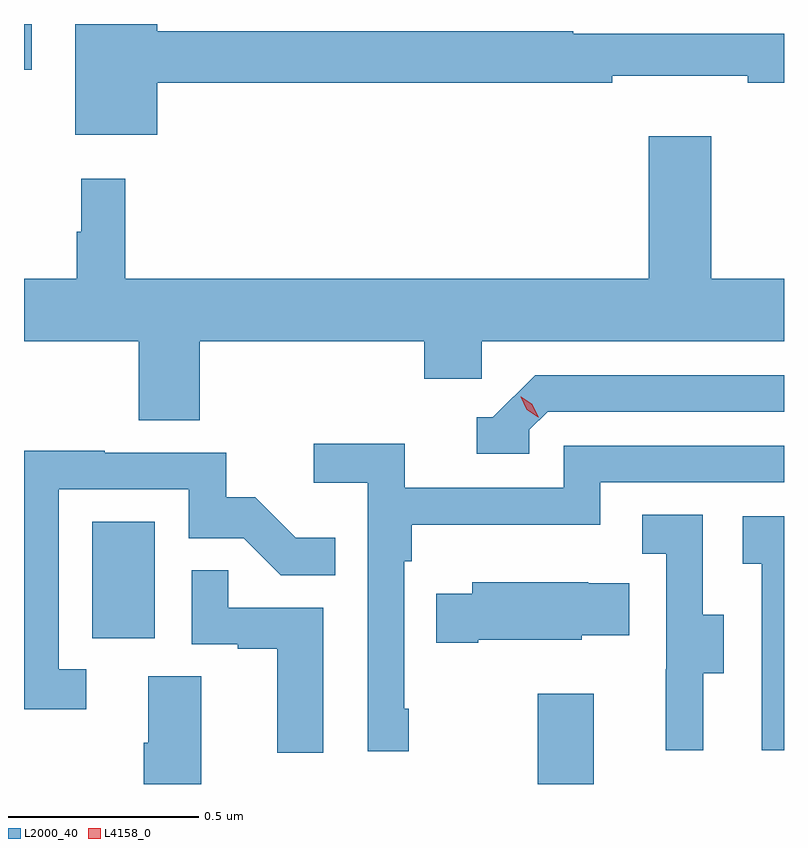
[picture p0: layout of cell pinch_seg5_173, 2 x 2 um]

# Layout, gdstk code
import gdstk
lib = gdstk.Library(unit=1e-6, precision=1e-09)
def R(c, l, rs):  # rectangles x0, y0, x1, y1
    for r in rs: c.add(gdstk.rectangle(r[:2], r[2:], *l))
def P(c, l, *ps):  # polygons
    for p in ps: c.add(gdstk.Polygon(p, *l))
L2000_40 = (2000, 40)
L4158_0 = (4158, 0)

pinch_seg5_173 = lib.new_cell('pinch_seg5_173')
R(pinch_seg5_173, L2000_40, [(1123.756,878.239,1123.903,878.476), (1122.584,878.622,1122.748,878.929), (1122.404,880.118,1122.424,880.239)])
P(pinch_seg5_173, L2000_40, [(1122.754,880.084),(1123.952,880.084),(1123.952,880.103),(1124.308,880.103),(1124.308,880.084),(1124.404,880.084),(1124.404,880.213),(1123.85,880.213),(1123.85,880.22),(1122.754,880.22),(1122.754,880.239),(1122.539,880.239),(1122.539,879.947),(1122.754,879.947)],
  [(1122.866,879.404),(1123.457,879.404),(1123.457,879.306),(1123.608,879.306),(1123.608,879.404),(1124.404,879.404),(1124.404,879.568),(1124.212,879.568),(1124.212,879.943),(1124.048,879.943),(1124.048,879.568),(1122.671,879.568),(1122.671,879.832),(1122.554,879.832),(1122.554,879.692),(1122.543,879.692),(1122.543,879.568),(1122.404,879.568),(1122.404,879.404),(1122.706,879.404),(1122.706,879.196),(1122.866,879.196)],
  [(1123.734,879.171),(1123.782,879.219),(1124.404,879.219),(1124.404,879.315),(1123.749,879.315),(1123.638,879.204),(1123.595,879.204),(1123.595,879.108),(1123.734,879.108)],
  [(1123.417,878.437),(1123.404,878.437),(1123.404,878.825),(1123.424,878.825),(1123.424,878.921),(1123.92,878.921),(1123.92,879.033),(1124.404,879.033),(1124.404,879.129),(1123.824,879.129),(1123.824,879.018),(1123.406,879.018),(1123.406,879.134),(1123.167,879.134),(1123.167,879.032),(1123.308,879.032),(1123.308,878.325),(1123.417,878.325)],
  [(1122.568,878.541),(1122.495,878.541),(1122.495,879.015),(1122.837,879.015),(1122.837,878.886),(1122.982,878.886),(1123.08,878.788),(1123.223,878.788),(1123.223,878.887),(1123.119,878.887),(1123.012,878.994),(1122.936,878.994),(1122.936,879.111),(1122.617,879.111),(1122.617,879.116),(1122.404,879.116),(1122.404,878.436),(1122.568,878.436)],
  [(1124.191,878.53),(1124.245,878.53),(1124.245,878.685),(1124.19,878.685),(1124.19,878.948),(1124.031,878.948),(1124.031,878.845),(1124.094,878.845),(1124.094,878.541),(1124.093,878.541),(1124.093,878.328),(1124.191,878.328)],
  [(1124.404,878.943),(1124.295,878.943),(1124.295,878.819),(1124.346,878.819),(1124.346,878.328),(1124.404,878.328)],
  [(1123.192,878.703),(1122.941,878.703),(1122.941,878.801),(1122.846,878.801),(1122.846,878.607),(1122.967,878.607),(1122.967,878.595),(1123.07,878.595),(1123.07,878.321),(1123.192,878.321)],
  [(1123.6,878.618),(1123.872,878.618),(1123.872,878.63),(1123.997,878.63),(1123.997,878.767),(1123.889,878.767),(1123.889,878.77),(1123.583,878.77),(1123.583,878.74),(1123.489,878.74),(1123.489,878.611),(1123.6,878.611)],
  [(1122.871,878.522),(1122.731,878.522),(1122.731,878.348),(1122.719,878.348),(1122.719,878.239),(1122.871,878.239)])
P(pinch_seg5_173, L4158_0, [(1123.757,879.204),(1123.727,879.224),(1123.711,879.258),(1123.711,879.258),(1123.712,879.258),(1123.742,879.238),(1123.758,879.204),(1123.758,879.204)])

lib.write_gds('pinch_seg5_173.gds')
